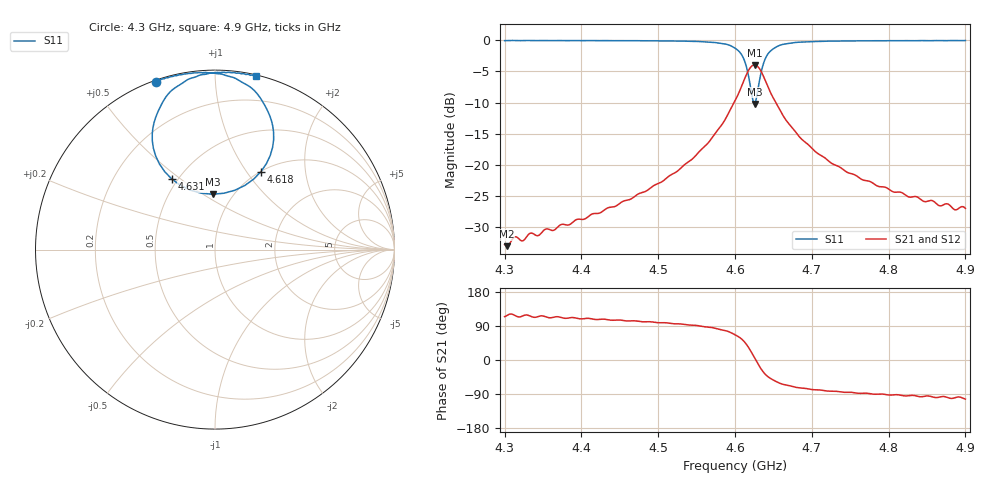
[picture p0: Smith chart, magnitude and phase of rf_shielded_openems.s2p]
! kicad2ems openEMS FDTD (rf_shielded); not computed (written as 0): S(P2,P2)
! ports: 1=P1, 2=P2
# Hz S RI R 50
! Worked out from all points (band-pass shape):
!   401 points, 4.3 GHz to 4.9 GHz, reference 50 ohm
!   highest |S21| = -3.95 dB at 4.625 GHz (marker M1); lowest = -33.0 dB at 4.303 GHz (marker M2)
!   |S21| within 3 dB of the highest: 4.61 GHz to 4.641 GHz (31.09 MHz wide, 0.672 % of centre)
!   lowest |S11| = -10.2 dB at 4.625 GHz (marker M3), VSWR 1.89, Z = 40.3 + j27.5 ohm
!   |S11| at or under -10 dB: 4.624274 GHz to 4.626255 GHz (1.981 MHz wide, 0.0428 % of centre)
!   |S22| runs from - to - dB; largest |S21 - S12| = 0
!   S11 on the Smith chart (normalised r, x): 4.3 GHz: 0.01, +0.71; 4.618 GHz: 1.01, +1.17; 4.631 GHz: 0.47, +0.46; 4.9 GHz: 0.01, +1.27
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4.3e9  -0.3282 0.9365  -0.00953 0.0209  -0.00953 0.0209  0 0
4.303e9  -0.3264 0.9386  -0.0102 0.0198  -0.0102 0.0198  0 0
4.3135e9  -0.3116 0.9441  -0.0122 0.0235  -0.0122 0.0235  0 0
4.324e9  -0.3031 0.9468  -0.0111 0.022  -0.0111 0.022  0 0
4.4005e9  -0.2122 0.9693  -0.0116 0.0347  -0.0116 0.0347  0 0
4.501e9  -0.0696 0.9854  -0.0103 0.0705  -0.0103 0.0705  0 0
4.564e9  0.0776 0.9655  0.00787 0.1473  0.00787 0.1473  0 0
4.5865e9  0.1782 0.9172  0.0472 0.2226  0.0472 0.2226  0 0
4.6e9  0.267 0.8216  0.1294 0.2999  0.1294 0.2999  0 0
4.612e9  0.3267 0.6127  0.3187 0.3619  0.3187 0.3619  0 0
4.618e9  0.2553 0.4336  0.4912 0.3059  0.4912 0.3059  0 0
4.6225e9  0.1107 0.3307  0.5996 0.177  0.5996 0.177  0 0
4.6255e9  -0.0138 0.3085  0.6315 0.0611  0.6315 0.0611  0 0
4.6315e9  -0.2405 0.3931  0.5742 -0.1618  0.5742 -0.1618  0 0
4.639e9  -0.3494 0.6077  0.3863 -0.2888  0.3863 -0.2888  0 0
4.6465e9  -0.3229 0.7562  0.2475 -0.285  0.2475 -0.285  0 0
4.6555e9  -0.2718 0.8527  0.1544 -0.2552  0.1544 -0.2552  0 0
4.675e9  -0.167 0.9379  0.0677 -0.1854  0.0677 -0.1854  0 0
4.7005e9  -0.0788 0.9735  0.028 -0.1323  0.028 -0.1323  0 0
4.7455e9  0.0197 0.9866  0.00732 -0.0873  0.00732 -0.0873  0 0
4.801e9  0.1053 0.9862  -0.00284 -0.0634  -0.00284 -0.0634  0 0
4.9e9  0.231 0.9675  -0.0102 -0.0436  -0.0102 -0.0436  0 0
